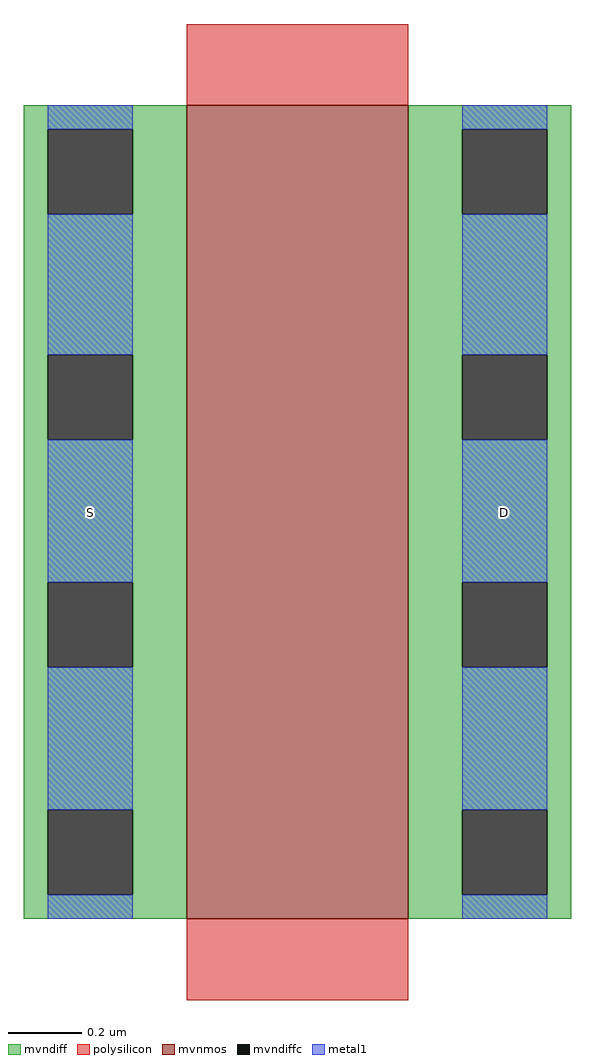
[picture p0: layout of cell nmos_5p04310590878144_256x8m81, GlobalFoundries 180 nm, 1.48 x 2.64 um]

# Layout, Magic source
magic
tech gf180mcuB
magscale 1 10
<< mvnmos >>
rect 0 0 120 440
<< mvndiff >>
rect -88 427 0 440
rect -88 381 -75 427
rect -29 381 0 427
rect -88 305 0 381
rect -88 259 -75 305
rect -29 259 0 305
rect -88 182 0 259
rect -88 136 -75 182
rect -29 136 0 182
rect -88 59 0 136
rect -88 13 -75 59
rect -29 13 0 59
rect -88 0 0 13
rect 120 427 208 440
rect 120 381 149 427
rect 195 381 208 427
rect 120 305 208 381
rect 120 259 149 305
rect 195 259 208 305
rect 120 182 208 259
rect 120 136 149 182
rect 195 136 208 182
rect 120 59 208 136
rect 120 13 149 59
rect 195 13 208 59
rect 120 0 208 13
<< mvndiffc >>
rect -75 381 -29 427
rect -75 259 -29 305
rect -75 136 -29 182
rect -75 13 -29 59
rect 149 381 195 427
rect 149 259 195 305
rect 149 136 195 182
rect 149 13 195 59
<< polysilicon >>
rect 0 440 120 484
rect 0 -44 120 0
<< metal1 >>
rect -75 427 -29 440
rect -75 305 -29 381
rect -75 182 -29 259
rect -75 59 -29 136
rect -75 0 -29 13
rect 149 427 195 440
rect 149 305 195 381
rect 149 182 195 259
rect 149 59 195 136
rect 149 0 195 13
<< labels >>
flabel metal1 s -52 220 -52 220 0 FreeSans 200 0 0 0 S
flabel metal1 s 172 220 172 220 0 FreeSans 200 0 0 0 D
<< properties >>
string GDS_END 112438
string GDS_FILE $PDKPATH/libs.ref/gf180mcu_fd_ip_sram/gds/gf180mcu_fd_ip_sram__sram256x8m8wm1.gds
string GDS_START 111030
<< end >>
